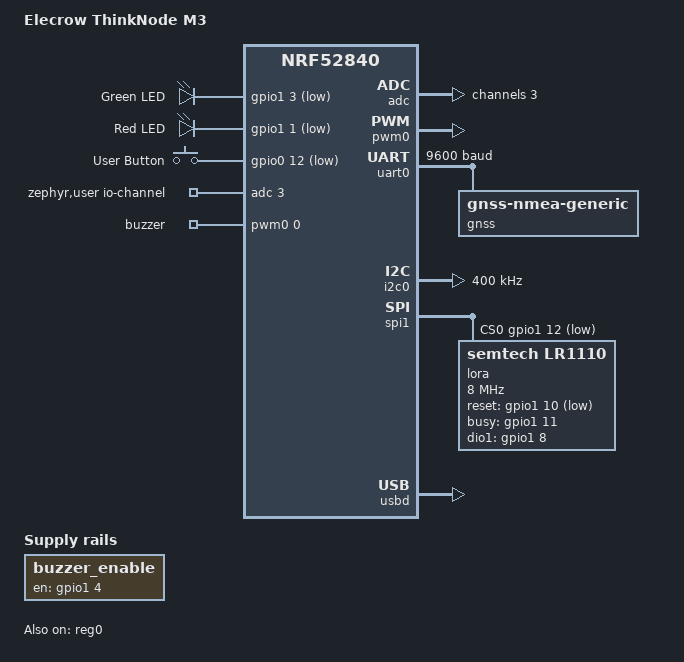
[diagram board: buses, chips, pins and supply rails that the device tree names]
/*
 * Elecrow ThinkNode M3 - nRF52840 + LR1110
 * Copyright (c) 2025 ZephCore
 *
 * SPDX-License-Identifier: MIT
 *
 * Hardware (from Arduino variant.h / platformio.ini):
 * - nRF52840 SoC with BLE
 * - LR1110 LoRa radio on SPI1 (TCXO 3.3V, DIO5/DIO6 RF switch)
 * - GPS module on UART0 (9600 baud, generic NMEA)
 *   Control: GPS_POWER=P0.14 (always on), GPS_EN=P0.21 (standby); GPS_RESET=P0.25 unused/floating
 * - Battery ADC on AIN3 (P0.05), 2:1 voltage divider
 * - LEDs: GREEN=P1.03, RED=P1.01 (active-low), POWER=P0.29 (always on via overlay)
 * - Button on P0.12 (active-low, pull-up), single button with multi-tap
 * - Buzzer PWM on P0.23 with enable on P1.04
 * - I2C on P0.26/P0.27 for on-board sensors
 * - Power enables: P0.16 (PWR_EN), P0.17 (BAT_POWER), P0.07 (EEPROM_POWER)
 *   (all set HIGH via gpio-hogsn in board.overlay)
 */

/dts-v1/;
#include <nordic/nrf52840_qiaa.dtsi>
#include <nordic/nrf52840_partition.dtsi>
#include <zephyr/dt-bindings/adc/nrf-saadc.h>
#include <zephyr/dt-bindings/input/input-event-codes.h>
#include <zephyr/dt-bindings/pwm/pwm.h>
#include "thinknode_m3-pinctrl.dtsi"

/* Delete default partitions from nrf52840_partition.dtsi */
/delete-node/ &boot_partition;
/delete-node/ &slot0_partition;
/delete-node/ &slot1_partition;
/delete-node/ &storage_partition;

/ {
	model = "Elecrow ThinkNode M3";
	compatible = "elecrow,thinknode-m3";

	chosen {
		zephyr,code-partition = &code_partition;
		zephyr,console = &cdc_acm_uart;
		zephyr,shell-uart = &cdc_acm_uart;
	};

	leds {
		compatible = "gpio-leds";

		led_green: led_0 {
			/* Active-low (LED_STATE_ON = LOW in Arduino variant.h) */
			gpios = <&gpio1 3 GPIO_ACTIVE_LOW>;
			label = "Green LED";
		};

		led_red: led_1 {
			gpios = <&gpio1 1 GPIO_ACTIVE_LOW>;
			label = "Red LED";
		};
	};

	buttons: buttons {
		compatible = "gpio-keys";

		user_button: button_0 {
			/* Active-low (USER_BTN_PRESSED = LOW), internal pull-up */
			gpios = <&gpio0 12 (GPIO_ACTIVE_LOW | GPIO_PULL_UP)>;
			zephyr,code = <INPUT_KEY_0>;
			label = "User Button";
		};
	};

	/* Long-press detection (1000ms) */
	user_btn_longpress {
		compatible = "zephyr,input-longpress";
		input = <&buttons>;
		input-codes = <INPUT_KEY_0>;
		short-codes = <INPUT_KEY_A>;
		long-codes = <INPUT_KEY_F>;
		long-delay-ms = <1000>;
	};

	/* Multi-tap detection
	 * 1 tap  → KEY_1 = page next
	 * 2 taps → KEY_B = LED heartbeat toggle
	 * 3 taps → KEY_D = buzzer mute toggle
	 * 4 taps → KEY_C = GPS on/off
	 * 5 taps → KEY_E = flood advert */
	user_btn_multitap {
		compatible = "zephcore,input-multi-tap";
		input-codes = <INPUT_KEY_A>;
		tap-codes = <INPUT_KEY_1 INPUT_KEY_B INPUT_KEY_D INPUT_KEY_C INPUT_KEY_E>;
		tap-delay-ms = <400>;
	};

	/* Battery ADC channel reference for ZephyrBoard
	 * 2:1 voltage divider on AIN3 (P0.05).
	 * With GAIN_1_6 + internal ref (3600mV full scale) × 2 = 7200 multiplier. */
	zephyr,user {
		io-channels = <&adc 3>;
		vbat-mv-multiplier = <7236>;  /* 2:1 divider, 3.6V ref; +0.5% for nRF SAADC gain error */
	};

	/* Buzzer on PWM0 channel 0 (P0.23, PIN_BUZZER=23) */
	pwmbuzzer {
		compatible = "pwm-leds";
		buzzer: buzzer {
			pwms = <&pwm0 0 PWM_MSEC(20) PWM_POLARITY_NORMAL>;
		};
	};

	/* Buzzer enable pin (P1.04, PIN_BUZZER_EN=36) */
	buzzer_enable: buzzer-enable {
		compatible = "regulator-fixed";
		regulator-name = "buzzer-enable";
		enable-gpios = <&gpio1 4 GPIO_ACTIVE_HIGH>;
	};

	aliases {
		led0 = &led_green;
		led1 = &led_red;
		sw0 = &user_button;
		watchdog0 = &wdt0;
		buzzer = &buzzer;
		buzzer-enable = &buzzer_enable;
		lora0 = &lora;
	};
};

&reg0 {
	status = "okay";
};

&reg1 {
	regulator-initial-mode = <NRF5X_REG_MODE_DCDC>;
};

&adc {
	status = "okay";
	#address-cells = <1>;
	#size-cells = <0>;

	/* Battery voltage on P0.05 (AIN3) - 2:1 voltage divider */
	channel@3 {
		reg = <3>;
		zephyr,gain = "ADC_GAIN_1_6";
		zephyr,reference = "ADC_REF_INTERNAL";
		zephyr,acquisition-time = <ADC_ACQ_TIME(ADC_ACQ_TIME_MICROSECONDS, 10)>;
		zephyr,input-positive = <NRF_SAADC_AIN3>;
		zephyr,resolution = <12>;
	};
};

&uicr {
	nfct-pins-as-gpios;
};

&gpiote {
	status = "okay";
};

&gpio0 {
	status = "okay";
};

&gpio1 {
	status = "okay";
};

/* PWM0 for buzzer on P0.23 */
&pwm0 {
	status = "okay";
	pinctrl-0 = <&pwm0_default>;
	pinctrl-1 = <&pwm0_sleep>;
	pinctrl-names = "default", "sleep";
};

/* GPS on UART0 (9600 baud)
 *
 * Using gnss-nmea-generic (passive NMEA listener) — Arduino reference code
 * uses MicroNMEA (generic NMEA parser only, no proprietary commands), so
 * chip-specific drivers are neither needed nor safe.
 * GPS_POWER=P0.14 (always on hog), GPS_EN=P0.21 (wake/standby).
 * GPS_RESET=P0.25 (REINIT) is intentionally left floating — driving it stops
 * this module from producing NMEA (see board.overlay, upstream 3af5ffe1).
 *
 * zephyr,deferred-init: GPS needs GPIO power-up (GPS_EN HIGH) before NMEA
 * output. ZephyrGPSManager handles power-up then calls device_init(). */
&uart0 {
	compatible = "nordic,nrf-uarte";
	status = "okay";
	current-speed = <9600>;
	pinctrl-0 = <&uart0_default>;
	pinctrl-1 = <&uart0_sleep>;
	pinctrl-names = "default", "sleep";

	gnss: gnss {
		compatible = "gnss-nmea-generic";
		zephyr,deferred-init;
	};
};

/* I2C0 for on-board sensors */
&i2c0 {
	compatible = "nordic,nrf-twim";
	status = "okay";
	clock-frequency = <I2C_BITRATE_FAST>;
	pinctrl-0 = <&i2c0_default>;
	pinctrl-1 = <&i2c0_sleep>;
	pinctrl-names = "default", "sleep";

	/* All supported environment & power sensors — auto-detected at runtime */
	#include "../../common/sensors-i2c.dtsi"
	/* ThinkNode M3 has an onboard PCF8563 RTC — opt in to boot-time time
	 * restore (auto-detected at runtime among the supported chips). */
	#include "../../common/rtc-i2c.dtsi"
};

/* SPI1 for LR1110 */
&spi1 {
	compatible = "nordic,nrf-spim";
	status = "okay";
	cs-gpios = <&gpio1 12 GPIO_ACTIVE_LOW>;
	pinctrl-0 = <&spi1_default>;
	pinctrl-1 = <&spi1_sleep>;
	pinctrl-names = "default", "sleep";

	lora: lora@0 {
		compatible = "semtech,lr1110";
		reg = <0>;
		reset-gpios = <&gpio1 10 GPIO_ACTIVE_LOW>;
		busy-gpios = <&gpio1 11 GPIO_ACTIVE_HIGH>;
		dio1-gpios = <&gpio1 8 (GPIO_PULL_DOWN | GPIO_ACTIVE_HIGH)>;
		tcxo-voltage-mv = <1800>;
		tcxo-startup-delay-ms = <5>;
		rx-boosted;
		spi-max-frequency = <8000000>;
		/* RF switch: DIO5=bit0, DIO6=bit1
		 * Table from Arduino target.cpp rfswitch_table:
		 *   STBY:  DIO5=L, DIO6=L → 0x00
		 *   RX:    DIO5=H, DIO6=L → 0x01
		 *   TX:    DIO5=H, DIO6=H → 0x03
		 *   TX_HP: DIO5=L, DIO6=H → 0x02
		 *   GNSS:  DIO5=L, DIO6=L → 0x00 */
		rfswitch-enable = <0x03>;
		rfswitch-standby = <0x00>;
		rfswitch-rx = <0x01>;
		rfswitch-tx = <0x03>;
		rfswitch-tx-hp = <0x02>;
		rfswitch-gnss = <0x00>;
	};
};

zephyr_udc0: &usbd {
	compatible = "nordic,nrf-usbd";
	status = "okay";

	cdc_acm_uart: cdc_acm_uart {
		compatible = "zephyr,cdc-acm-uart";
	};
};

/* SoftDevice v6 partition layout (S140 v6 — Adafruit nRF52 bootloader) */
#include "../../common/nrf52_partitions_sdv6.dtsi"
#include "../../common/nrf52_wakeup.dtsi"
